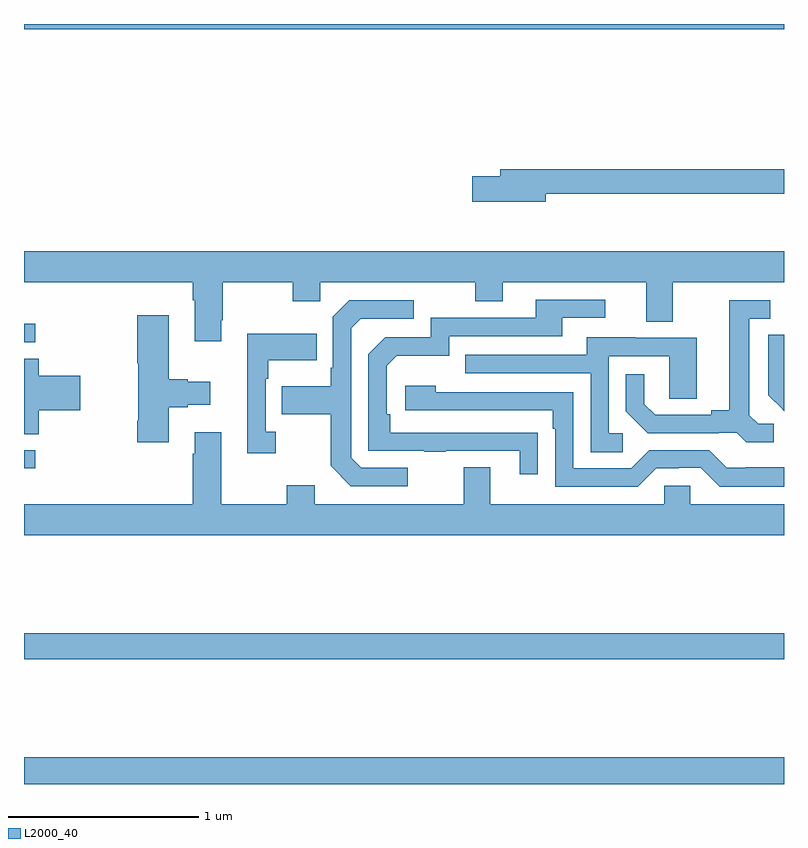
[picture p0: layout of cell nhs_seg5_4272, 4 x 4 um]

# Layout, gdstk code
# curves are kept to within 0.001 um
import gdstk
lib = gdstk.Library(unit=1e-6, precision=1e-09)
def R(c, l, rs):  # rectangles x0, y0, x1, y1
    for r in rs: c.add(gdstk.rectangle(r[:2], r[2:], *l))
def P(c, l, *ps):  # polygons
    for p in ps: c.add(gdstk.Polygon(p, *l))
L2000_40 = (2000, 40)

nhs_seg5_4272 = lib.new_cell('nhs_seg5_4272')
R(nhs_seg5_4272, L2000_40, [(363,840.799,367,840.94), (363,841.456,367,841.592), (363,842.46,363.058,842.556), (363,843.123,363.058,843.222), (363,844.772,367,844.799)])
P(nhs_seg5_4272, L2000_40, [(365.746,843.906),(367,843.906),(367,844.034),(365.507,844.034),(365.507,843.998),(365.358,843.998),(365.358,843.863),(365.746,843.863)],
  [(364.039,843.241),(364.047,843.241),(364.047,843.44),(364.414,843.44),(364.414,843.341),(364.56,843.341),(364.56,843.44),(365.374,843.44),(365.374,843.341),(365.521,843.341),(365.521,843.44),(366.275,843.44),(366.275,843.232),(366.415,843.232),(366.415,843.44),(367,843.44),(367,843.604),(363,843.604),(363,843.44),(363.887,843.44),(363.887,843.344),(363.899,843.344),(363.899,843.129),(364.039,843.129)],
  [(365.705,842.648),(364.928,842.649),(364.928,842.746),(364.908,842.746),(364.908,843),(364.961,843.053),(365.238,843.053),(365.238,843.156),(365.833,843.156),(365.833,843.252),(366.058,843.252),(366.058,843.348),(365.693,843.348),(365.693,843.252),(365.142,843.252),(365.142,843.15),(364.902,843.15),(364.812,843.06),(364.812,842.553),(365.107,842.553),(365.107,842.548),(365.219,842.548),(365.219,842.553),(365.609,842.553),(365.609,842.43),(365.705,842.43)],
  [(366.946,842.694),(366.864,842.694),(366.817,842.741),(366.817,843.249),(366.928,843.249),(366.928,843.345),(366.713,843.345),(366.713,842.765),(366.617,842.765),(366.617,842.742),(366.322,842.742),(366.265,842.799),(366.265,842.956),(366.168,842.956),(366.168,842.762),(366.284,842.646),(366.656,842.646),(366.656,842.649),(366.75,842.649),(366.802,842.597),(366.946,842.597)],
  [(365.02,842.463),(364.776,842.463),(364.722,842.517),(364.722,843.198),(364.773,843.249),(365.05,843.249),(365.05,843.345),(364.713,843.345),(364.626,843.258),(364.626,842.989),(364.614,842.989),(364.614,842.893),(364.357,842.893),(364.357,842.746),(364.614,842.746),(364.614,842.473),(364.719,842.367),(365.02,842.367)],
  [(363.763,842.783),(363.863,842.783),(363.863,842.795),(363.979,842.795),(363.979,842.917),(363.863,842.917),(363.863,842.93),(363.763,842.93),(363.763,843.265),(363.596,843.265),(363.596,843.013),(363.601,843.013),(363.601,842.71),(363.596,842.71),(363.596,842.598),(363.763,842.598)],
  [(364.324,842.654),(364.272,842.654),(364.272,842.933),(364.285,842.933),(364.285,843.029),(364.541,843.029),(364.541,843.169),(364.175,843.169),(364.175,842.541),(364.324,842.541)],
  [(367,843.164),(366.918,843.164),(366.918,842.846),(366.991,842.773),(366.99,842.772),(367,842.762)],
  [(366.151,842.646),(366.078,842.646),(366.078,843.051),(366.396,843.051),(366.396,842.827),(366.541,842.827),(366.541,843.147),(366.217,843.147),(366.217,843.151),(365.963,843.151),(365.963,843.057),(365.323,843.057),(365.323,842.961),(365.982,842.961),(365.982,842.545),(366.151,842.545)],
  [(363.077,842.765),(363.295,842.765),(363.295,842.948),(363.077,842.948),(363.077,843.038),(363,843.038),(363,842.641),(363.077,842.641)],
  [(367,842.467),(366.799,842.467),(366.799,842.463),(366.699,842.463),(366.606,842.556),(366.291,842.556),(366.195,842.46),(365.892,842.46),(365.892,842.862),(365.168,842.862),(365.168,842.896),(365.007,842.896),(365.007,842.766),(365.783,842.766),(365.783,842.669),(365.796,842.669),(365.796,842.364),(366.231,842.364),(366.327,842.46),(366.446,842.46),(366.446,842.463),(366.561,842.463),(366.661,842.363),(367,842.363)],
  [(364.384,842.371),(364.384,842.272),(364.039,842.272),(364.039,842.65),(363.899,842.65),(363.899,842.537),(363.887,842.537),(363.887,842.272),(363,842.272),(363,842.108),(367,842.108),(367,842.272),(366.507,842.272),(366.507,842.37),(366.369,842.37),(366.369,842.272),(365.455,842.272),(365.455,842.467),(365.315,842.467),(365.315,842.272),(364.531,842.272),(364.531,842.371)])

lib.write_gds('nhs_seg5_4272.gds')
